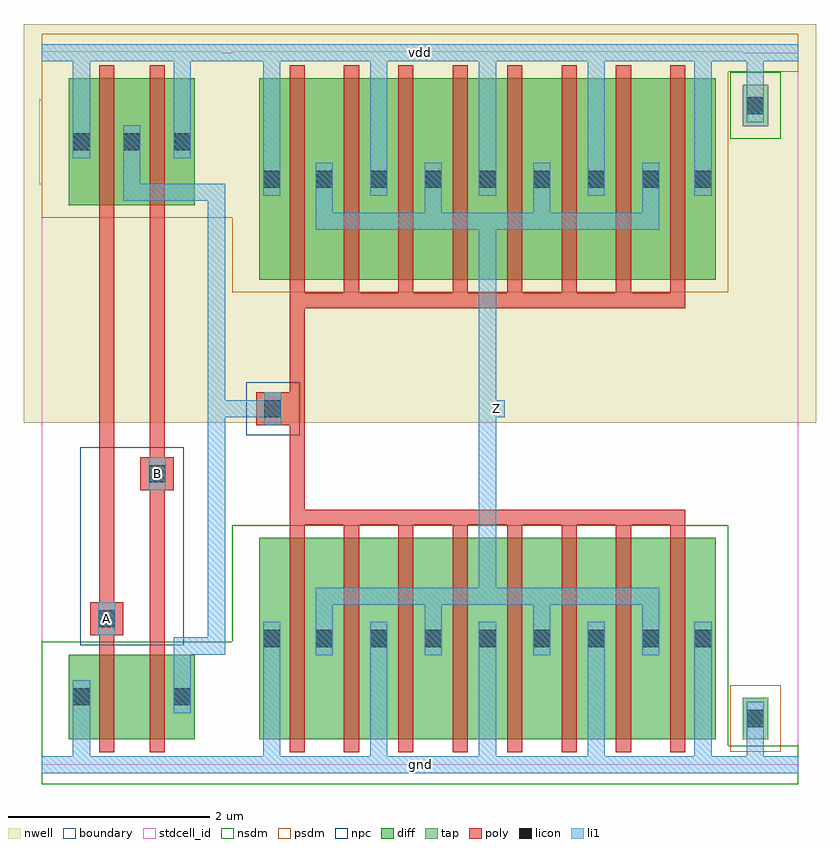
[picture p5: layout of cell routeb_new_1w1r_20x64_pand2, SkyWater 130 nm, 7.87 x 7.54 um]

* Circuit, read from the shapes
.subckt routeb_new_1w1r_20x64_pand2 A B Z gnd vdd
XM1 routeb_new_1w1r_20x64_pnand2_0/routeb_new_1w1r_20x64_nmos_m1_w0_840_sli_dactive_2/D A gnd gnd sky130_fd_pr__nfet_01v8 w=0.84 l=0.15
XM2 routeb_new_1w1r_20x64_pdriver_1/A B routeb_new_1w1r_20x64_pnand2_0/routeb_new_1w1r_20x64_nmos_m1_w0_840_sli_dactive_2/D gnd sky130_fd_pr__nfet_01v8 w=0.84 l=0.15
XM3 Z routeb_new_1w1r_20x64_pdriver_1/A gnd gnd sky130_fd_pr__nfet_01v8 w=2 l=0.15 m=8
XM4 routeb_new_1w1r_20x64_pdriver_1/A A vdd vdd sky130_fd_pr__pfet_01v8 w=1.26 l=0.15
XM5 vdd B routeb_new_1w1r_20x64_pdriver_1/A vdd sky130_fd_pr__pfet_01v8 w=1.26 l=0.15
XM6 Z routeb_new_1w1r_20x64_pdriver_1/A vdd vdd sky130_fd_pr__pfet_01v8 w=2 l=0.15 m=8
.ends

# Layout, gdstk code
import gdstk
lib = gdstk.Library(unit=1e-6, precision=1e-09)
def R(c, l, rs):  # rectangles x0, y0, x1, y1
    for r in rs: c.add(gdstk.rectangle(r[:2], r[2:], *l))
def A(c, l, x, y, w, h, nx, ny, dx, dy):  # array of equal rectangles
    R(c, l, [(x+i*dx, y+j*dy, x+i*dx+w, y+j*dy+h) for i in range(nx) for j in range(ny)])
nwell = (64, 20)
diff = (65, 20)
tap = (65, 44)
poly = (66, 20)
licon = (66, 44)
li1 = (67, 20)
stdcell_id = (81, 4)
nsdm = (93, 44)
psdm = (94, 20)
npc = (95, 20)
boundary = (235, 4)

routeb_new_1w1r_20x64_co = lib.new_cell('routeb_new_1w1r_20x64_contact_11')
R(routeb_new_1w1r_20x64_co, nwell, [(-0.295,-0.255,0.545,0.585)])
R(routeb_new_1w1r_20x64_co, diff, [(0,0.02,0.25,0.31)])
R(routeb_new_1w1r_20x64_co, licon, [(0.04,0.08,0.21,0.25)])
R(routeb_new_1w1r_20x64_co, li1, [(0.04,0,0.21,0.33)])
R(routeb_new_1w1r_20x64_co, stdcell_id, [(-0.295,-0.255,0.545,0.585)])
R(routeb_new_1w1r_20x64_co, psdm, [(-0.125,-0.105,0.375,0.435)])
R(routeb_new_1w1r_20x64_co, boundary, [(-0.295,-0.255,0.545,0.585)])

routeb_new_1w1r_20x64_pm = lib.new_cell('routeb_new_1w1r_20x64_pmos_m1_w1_260_sli_dli')
R(routeb_new_1w1r_20x64_pm, nwell, [(-0.27,-0.27,1.02,1.53)])
R(routeb_new_1w1r_20x64_pm, diff, [(0,0,0.75,1.26)])
R(routeb_new_1w1r_20x64_pm, poly, [(0.3,-0.13,0.45,1.39), (0.3,-0.13,0.45,1.39)])
R(routeb_new_1w1r_20x64_pm, li1, [(0.04,0.465,0.21,0.795), (0.54,0.465,0.71,0.795)])
R(routeb_new_1w1r_20x64_pm, stdcell_id, [(-0.27,-0.27,1.02,1.53)])
R(routeb_new_1w1r_20x64_pm, psdm, [(-0.125,-0.125,0.875,1.385)])
R(routeb_new_1w1r_20x64_pm, boundary, [(-0.27,-0.27,1.02,1.53)])
routeb_new_1w1r_20x64_pm.add(gdstk.Reference(routeb_new_1w1r_20x64_co, (0,0.465)))
routeb_new_1w1r_20x64_pm.add(gdstk.Reference(routeb_new_1w1r_20x64_co, (0.5,0.465)))
routeb_new_1w1r_20x64_pm.add(gdstk.Label('G', (0.375,0.63), layer=66, texttype=5))
routeb_new_1w1r_20x64_pm.add(gdstk.Label('S', (0.125,0.63), layer=67, texttype=5))
routeb_new_1w1r_20x64_pm.add(gdstk.Label('D', (0.625,0.63), layer=67, texttype=5))

c_routeb_new_1w1r_20x64_co = lib.new_cell('routeb_new_1w1r_20x64_contact_10')
R(c_routeb_new_1w1r_20x64_co, diff, [(0,0.02,0.25,0.31)])
R(c_routeb_new_1w1r_20x64_co, licon, [(0.04,0.08,0.21,0.25)])
R(c_routeb_new_1w1r_20x64_co, li1, [(0.04,0,0.21,0.33)])
R(c_routeb_new_1w1r_20x64_co, stdcell_id, [(-0.125,-0.105,0.375,0.435)])
R(c_routeb_new_1w1r_20x64_co, nsdm, [(-0.125,-0.105,0.375,0.435)])
R(c_routeb_new_1w1r_20x64_co, boundary, [(-0.125,-0.105,0.375,0.435)])

routeb_new_1w1r_20x64_nm = lib.new_cell('routeb_new_1w1r_20x64_nmos_m1_w0_840_sli_dactive')
R(routeb_new_1w1r_20x64_nm, diff, [(0,0,0.75,0.84), (0.55,0.345,0.7,0.495)])
R(routeb_new_1w1r_20x64_nm, poly, [(0.3,-0.13,0.45,0.97), (0.3,-0.13,0.45,0.97)])
R(routeb_new_1w1r_20x64_nm, li1, [(0.04,0.255,0.21,0.585)])
R(routeb_new_1w1r_20x64_nm, stdcell_id, [(-0.125,-0.13,0.875,0.97)])
R(routeb_new_1w1r_20x64_nm, nsdm, [(-0.125,-0.125,0.875,0.965)])
R(routeb_new_1w1r_20x64_nm, boundary, [(-0.125,-0.13,0.875,0.97)])
routeb_new_1w1r_20x64_nm.add(gdstk.Reference(c_routeb_new_1w1r_20x64_co, (0,0.255)))
routeb_new_1w1r_20x64_nm.add(gdstk.Label('G', (0.375,0.42), layer=66, texttype=5))
routeb_new_1w1r_20x64_nm.add(gdstk.Label('S', (0.125,0.42), layer=67, texttype=5))
routeb_new_1w1r_20x64_nm.add(gdstk.Label('D', (0.625,0.42), layer=65, texttype=5))

c_routeb_new_1w1r_20x64_nm = lib.new_cell('routeb_new_1w1r_20x64_nmos_m1_w0_840_sactive_dli')
R(c_routeb_new_1w1r_20x64_nm, diff, [(0,0,0.75,0.84), (0.05,0.345,0.2,0.495)])
R(c_routeb_new_1w1r_20x64_nm, poly, [(0.3,-0.13,0.45,0.97), (0.3,-0.13,0.45,0.97)])
R(c_routeb_new_1w1r_20x64_nm, li1, [(0.54,0.255,0.71,0.585)])
R(c_routeb_new_1w1r_20x64_nm, stdcell_id, [(-0.125,-0.13,0.875,0.97)])
R(c_routeb_new_1w1r_20x64_nm, nsdm, [(-0.125,-0.125,0.875,0.965)])
R(c_routeb_new_1w1r_20x64_nm, boundary, [(-0.125,-0.13,0.875,0.97)])
c_routeb_new_1w1r_20x64_nm.add(gdstk.Reference(c_routeb_new_1w1r_20x64_co, (0.5,0.255)))
c_routeb_new_1w1r_20x64_nm.add(gdstk.Label('G', (0.375,0.42), layer=66, texttype=5))
c_routeb_new_1w1r_20x64_nm.add(gdstk.Label('S', (0.125,0.42), layer=65, texttype=5))
c_routeb_new_1w1r_20x64_nm.add(gdstk.Label('D', (0.625,0.42), layer=67, texttype=5))

c_routeb_new_1w1r_20x64_co_ = lib.new_cell('routeb_new_1w1r_20x64_contact_15')
R(c_routeb_new_1w1r_20x64_co_, poly, [(0,0,0.33,0.33)])
R(c_routeb_new_1w1r_20x64_co_, licon, [(0.08,0.08,0.25,0.25)])
R(c_routeb_new_1w1r_20x64_co_, li1, [(0.08,0,0.25,0.33)])
R(c_routeb_new_1w1r_20x64_co_, stdcell_id, [(-0.1,-0.1,0.43,0.43)])
R(c_routeb_new_1w1r_20x64_co_, npc, [(-0.1,-0.1,0.43,0.43)])
R(c_routeb_new_1w1r_20x64_co_, boundary, [(-0.1,-0.1,0.43,0.43)])

routeb_new_1w1r_20x64_pn = lib.new_cell('routeb_new_1w1r_20x64_pnand2')
R(routeb_new_1w1r_20x64_pn, nwell, [(-0.18,3.395,2.07,7.355)])
R(routeb_new_1w1r_20x64_pn, poly, [(0.57,1.225,0.72,5.425), (1.07,1.225,1.22,5.425), (0.57,1.285,0.645,1.615), (1.07,2.725,1.145,3.055)])
R(routeb_new_1w1r_20x64_pn, li1, [(0,-0.085,1.89,0.085), (0.31,-0.085,0.48,0.51), (1.31,0.84,1.48,1.18), (1.31,1.095,1.48,1.265), (1.395,1.095,1.735,1.265), (1.65,1.095,1.82,1.265), (1.65,1.18,1.82,5.685), (0.56,1.285,0.73,1.615), (1.06,2.725,1.23,3.055), (0.81,5.6,0.98,5.77), (0.895,5.6,1.735,5.77), (1.65,5.6,1.82,5.77), (0.81,5.685,0.98,6.02), (0.31,6.02,0.48,7.155), (1.31,6.02,1.48,7.155), (0,6.985,1.89,7.155)])
R(routeb_new_1w1r_20x64_pn, stdcell_id, [(0,0,1.89,7.07), (0,0,1.89,7.07)])
R(routeb_new_1w1r_20x64_pn, nsdm, [(0,-0.19,1.89,0.19), (0,0,1.89,1.22)])
R(routeb_new_1w1r_20x64_pn, psdm, [(0,5.43,1.89,7.07), (0,6.88,1.89,7.26)])
R(routeb_new_1w1r_20x64_pn, npc, [(0.38,1.185,1.41,3.155)])
R(routeb_new_1w1r_20x64_pn, boundary, [(0,0,1.89,7.07), (0,0,1.89,7.07)])
routeb_new_1w1r_20x64_pn.add(gdstk.Reference(routeb_new_1w1r_20x64_pm, (0.27,5.555)))
routeb_new_1w1r_20x64_pn.add(gdstk.Reference(routeb_new_1w1r_20x64_pm, (0.77,5.555)))
routeb_new_1w1r_20x64_pn.add(gdstk.Reference(routeb_new_1w1r_20x64_nm, (0.27,0.255)))
routeb_new_1w1r_20x64_pn.add(gdstk.Reference(c_routeb_new_1w1r_20x64_nm, (0.77,0.255)))
routeb_new_1w1r_20x64_pn.add(gdstk.Reference(c_routeb_new_1w1r_20x64_co_, (0.48,1.285)))
routeb_new_1w1r_20x64_pn.add(gdstk.Reference(c_routeb_new_1w1r_20x64_co_, (0.98,2.725)))
routeb_new_1w1r_20x64_pn.add(gdstk.Label('Z', (1.735,5.685), layer=67, texttype=5))
routeb_new_1w1r_20x64_pn.add(gdstk.Label('gnd', (0.945,0), layer=67, texttype=5))
routeb_new_1w1r_20x64_pn.add(gdstk.Label('vdd', (0.945,7.07), layer=67, texttype=5))
routeb_new_1w1r_20x64_pn.add(gdstk.Label('A', (0.645,1.45), layer=67, texttype=5))
routeb_new_1w1r_20x64_pn.add(gdstk.Label('B', (1.145,2.89), layer=67, texttype=5))

c_routeb_new_1w1r_20x64_pm = lib.new_cell('routeb_new_1w1r_20x64_pmos_m8_w2_000_sli_dli_da_p')
R(c_routeb_new_1w1r_20x64_pm, nwell, [(-0.27,-0.27,4.8,2.27)])
R(c_routeb_new_1w1r_20x64_pm, diff, [(0,0,4.53,2)])
A(c_routeb_new_1w1r_20x64_pm, poly, 0.3, -0.13, 0.15, 2.26, 8, 1, 0.54, 0)
R(c_routeb_new_1w1r_20x64_pm, poly, [(0.3,-0.28,4.23,-0.13)])
A(c_routeb_new_1w1r_20x64_pm, li1, 0.56, 0.58, 0.17, 0.42, 4, 1, 1.08, 0)
A(c_routeb_new_1w1r_20x64_pm, li1, 1.1, 0.835, 0.17, 0.33, 3, 1, 1.08, 0)
R(c_routeb_new_1w1r_20x64_pm, li1, [(0.56,0.495,3.97,0.665), (0.04,0.835,0.21,1.165), (4.32,0.835,4.49,1.165)])
R(c_routeb_new_1w1r_20x64_pm, stdcell_id, [(-0.27,-0.28,4.8,2.27)])
R(c_routeb_new_1w1r_20x64_pm, psdm, [(-0.125,-0.125,4.655,2.125)])
R(c_routeb_new_1w1r_20x64_pm, boundary, [(-0.27,-0.28,4.8,2.27)])
c_routeb_new_1w1r_20x64_pm.add(gdstk.Reference(routeb_new_1w1r_20x64_co, (0,0.835)))
c_routeb_new_1w1r_20x64_pm.add(gdstk.Reference(routeb_new_1w1r_20x64_co, (0.52,0.835)))
c_routeb_new_1w1r_20x64_pm.add(gdstk.Reference(routeb_new_1w1r_20x64_co, (1.06,0.835)))
c_routeb_new_1w1r_20x64_pm.add(gdstk.Reference(routeb_new_1w1r_20x64_co, (1.6,0.835)))
c_routeb_new_1w1r_20x64_pm.add(gdstk.Reference(routeb_new_1w1r_20x64_co, (2.14,0.835)))
c_routeb_new_1w1r_20x64_pm.add(gdstk.Reference(routeb_new_1w1r_20x64_co, (2.68,0.835)))
c_routeb_new_1w1r_20x64_pm.add(gdstk.Reference(routeb_new_1w1r_20x64_co, (3.22,0.835)))
c_routeb_new_1w1r_20x64_pm.add(gdstk.Reference(routeb_new_1w1r_20x64_co, (3.76,0.835)))
c_routeb_new_1w1r_20x64_pm.add(gdstk.Reference(routeb_new_1w1r_20x64_co, (4.28,0.835)))
c_routeb_new_1w1r_20x64_pm.add(gdstk.Label('G', (2.265,-0.205), layer=66, texttype=5))
c_routeb_new_1w1r_20x64_pm.add(gdstk.Label('S', (2.265,1), layer=67, texttype=5))
c_routeb_new_1w1r_20x64_pm.add(gdstk.Label('S', (3.345,1), layer=67, texttype=5))
c_routeb_new_1w1r_20x64_pm.add(gdstk.Label('S', (1.185,1), layer=67, texttype=5))
c_routeb_new_1w1r_20x64_pm.add(gdstk.Label('S', (0.125,1), layer=67, texttype=5))
c_routeb_new_1w1r_20x64_pm.add(gdstk.Label('S', (4.405,1), layer=67, texttype=5))
c_routeb_new_1w1r_20x64_pm.add(gdstk.Label('D', (2.265,0.58), layer=67, texttype=5))

c_routeb_new_1w1r_20x64_nm_ = lib.new_cell('routeb_new_1w1r_20x64_nmos_m8_w2_000_sli_dli_da_p')
R(c_routeb_new_1w1r_20x64_nm_, diff, [(0,0,4.53,2)])
A(c_routeb_new_1w1r_20x64_nm_, poly, 0.3, -0.13, 0.15, 2.26, 8, 1, 0.54, 0)
R(c_routeb_new_1w1r_20x64_nm_, poly, [(0.3,2.13,4.23,2.28)])
A(c_routeb_new_1w1r_20x64_nm_, li1, 1.1, 0.835, 0.17, 0.33, 3, 1, 1.08, 0)
A(c_routeb_new_1w1r_20x64_nm_, li1, 0.56, 1, 0.17, 0.42, 4, 1, 1.08, 0)
R(c_routeb_new_1w1r_20x64_nm_, li1, [(0.04,0.835,0.21,1.165), (4.32,0.835,4.49,1.165), (0.56,1.335,3.97,1.505)])
R(c_routeb_new_1w1r_20x64_nm_, stdcell_id, [(-0.125,-0.13,4.655,2.28)])
R(c_routeb_new_1w1r_20x64_nm_, nsdm, [(-0.125,-0.125,4.655,2.125)])
R(c_routeb_new_1w1r_20x64_nm_, boundary, [(-0.125,-0.13,4.655,2.28)])
c_routeb_new_1w1r_20x64_nm_.add(gdstk.Reference(c_routeb_new_1w1r_20x64_co, (0,0.835)))
c_routeb_new_1w1r_20x64_nm_.add(gdstk.Reference(c_routeb_new_1w1r_20x64_co, (0.52,0.835)))
c_routeb_new_1w1r_20x64_nm_.add(gdstk.Reference(c_routeb_new_1w1r_20x64_co, (1.06,0.835)))
c_routeb_new_1w1r_20x64_nm_.add(gdstk.Reference(c_routeb_new_1w1r_20x64_co, (1.6,0.835)))
c_routeb_new_1w1r_20x64_nm_.add(gdstk.Reference(c_routeb_new_1w1r_20x64_co, (2.14,0.835)))
c_routeb_new_1w1r_20x64_nm_.add(gdstk.Reference(c_routeb_new_1w1r_20x64_co, (2.68,0.835)))
c_routeb_new_1w1r_20x64_nm_.add(gdstk.Reference(c_routeb_new_1w1r_20x64_co, (3.22,0.835)))
c_routeb_new_1w1r_20x64_nm_.add(gdstk.Reference(c_routeb_new_1w1r_20x64_co, (3.76,0.835)))
c_routeb_new_1w1r_20x64_nm_.add(gdstk.Reference(c_routeb_new_1w1r_20x64_co, (4.28,0.835)))
c_routeb_new_1w1r_20x64_nm_.add(gdstk.Label('G', (2.265,2.205), layer=66, texttype=5))
c_routeb_new_1w1r_20x64_nm_.add(gdstk.Label('S', (2.265,1), layer=67, texttype=5))
c_routeb_new_1w1r_20x64_nm_.add(gdstk.Label('S', (3.345,1), layer=67, texttype=5))
c_routeb_new_1w1r_20x64_nm_.add(gdstk.Label('S', (1.185,1), layer=67, texttype=5))
c_routeb_new_1w1r_20x64_nm_.add(gdstk.Label('S', (0.125,1), layer=67, texttype=5))
c_routeb_new_1w1r_20x64_nm_.add(gdstk.Label('S', (4.405,1), layer=67, texttype=5))
c_routeb_new_1w1r_20x64_nm_.add(gdstk.Label('D', (2.265,1.42), layer=67, texttype=5))

c_routeb_new_1w1r_20x64_co__ = lib.new_cell('routeb_new_1w1r_20x64_contact_24')
R(c_routeb_new_1w1r_20x64_co__, nwell, [(-0.295,-0.215,0.545,0.625)])
R(c_routeb_new_1w1r_20x64_co__, tap, [(0,0,0.25,0.41)])
R(c_routeb_new_1w1r_20x64_co__, licon, [(0.04,0.12,0.21,0.29)])
R(c_routeb_new_1w1r_20x64_co__, li1, [(0.04,0.04,0.21,0.37)])
R(c_routeb_new_1w1r_20x64_co__, stdcell_id, [(-0.295,-0.215,0.545,0.625)])
R(c_routeb_new_1w1r_20x64_co__, nsdm, [(-0.125,-0.125,0.375,0.535)])
R(c_routeb_new_1w1r_20x64_co__, boundary, [(-0.295,-0.215,0.545,0.625)])

c_routeb_new_1w1r_20x64_co___ = lib.new_cell('routeb_new_1w1r_20x64_contact_25')
R(c_routeb_new_1w1r_20x64_co___, tap, [(0,0,0.25,0.41)])
R(c_routeb_new_1w1r_20x64_co___, licon, [(0.04,0.12,0.21,0.29)])
R(c_routeb_new_1w1r_20x64_co___, li1, [(0.04,0.04,0.21,0.37)])
R(c_routeb_new_1w1r_20x64_co___, stdcell_id, [(-0.125,-0.125,0.375,0.535)])
R(c_routeb_new_1w1r_20x64_co___, psdm, [(-0.125,-0.125,0.375,0.535)])
R(c_routeb_new_1w1r_20x64_co___, boundary, [(-0.125,-0.125,0.375,0.535)])

routeb_new_1w1r_20x64_pi = lib.new_cell('routeb_new_1w1r_20x64_pinv_1')
R(routeb_new_1w1r_20x64_pi, nwell, [(-0.18,3.395,5.8,7.355)])
R(routeb_new_1w1r_20x64_pi, poly, [(0.57,2.535,0.72,4.535), (0.405,3.37,0.57,3.7)])
A(routeb_new_1w1r_20x64_pi, li1, 1.37, -0.085, 0.17, 1.175, 3, 1, 1.08, 0)
A(routeb_new_1w1r_20x64_pi, li1, 1.37, 5.65, 0.17, 1.505, 3, 1, 1.08, 0)
R(routeb_new_1w1r_20x64_pi, li1, [(0,-0.085,5.62,0.085), (0.31,-0.085,0.48,1.09), (4.59,-0.085,4.76,1.09), (5.11,0,5.28,0.46), (2.45,1.59,2.62,5.48), (0.32,3.37,0.49,3.7), (2.535,3.45,2.705,3.62), (0.31,5.65,0.48,7.155), (4.59,5.65,4.76,7.155), (5.11,6.545,5.28,7.07), (0,6.985,5.62,7.155)])
R(routeb_new_1w1r_20x64_pi, stdcell_id, [(0,0,5.62,7.07), (0,0,5.62,7.07)])
R(routeb_new_1w1r_20x64_pi, nsdm, [(0,-0.19,5.62,0.19), (0,0,4.925,2.38)])
R(routeb_new_1w1r_20x64_pi, psdm, [(0,4.69,4.925,7.07), (0,6.88,5.62,7.26)])
R(routeb_new_1w1r_20x64_pi, boundary, [(0,0,5.62,7.07), (0,0,5.62,7.07)])
routeb_new_1w1r_20x64_pi.add(gdstk.Reference(c_routeb_new_1w1r_20x64_pm, (0.27,4.815)))
routeb_new_1w1r_20x64_pi.add(gdstk.Reference(c_routeb_new_1w1r_20x64_nm_, (0.27,0.255)))
routeb_new_1w1r_20x64_pi.add(gdstk.Reference(c_routeb_new_1w1r_20x64_co__, (5.07,6.34)))
routeb_new_1w1r_20x64_pi.add(gdstk.Reference(c_routeb_new_1w1r_20x64_co___, (5.07,0.255)))
routeb_new_1w1r_20x64_pi.add(gdstk.Reference(c_routeb_new_1w1r_20x64_co_, (0.24,3.37)))
routeb_new_1w1r_20x64_pi.add(gdstk.Label('A', (0.405,3.535), layer=67, texttype=5))
routeb_new_1w1r_20x64_pi.add(gdstk.Label('Z', (2.62,3.535), layer=67, texttype=5))
routeb_new_1w1r_20x64_pi.add(gdstk.Label('gnd', (2.81,0), layer=67, texttype=5))
routeb_new_1w1r_20x64_pi.add(gdstk.Label('vdd', (2.81,7.07), layer=67, texttype=5))

routeb_new_1w1r_20x64_pd = lib.new_cell('routeb_new_1w1r_20x64_pdriver')
R(routeb_new_1w1r_20x64_pd, nwell, [(-0.18,3.395,5.8,7.355)])
R(routeb_new_1w1r_20x64_pd, li1, [(0,-0.085,5.62,0.085), (0.32,3.37,0.49,3.7), (2.535,3.45,2.705,3.62), (0,6.985,5.62,7.155)])
R(routeb_new_1w1r_20x64_pd, stdcell_id, [(0,0,5.62,7.07), (0,0,5.62,7.07)])
R(routeb_new_1w1r_20x64_pd, nsdm, [(0,-0.19,5.62,0.19)])
R(routeb_new_1w1r_20x64_pd, psdm, [(0,6.88,5.62,7.26)])
R(routeb_new_1w1r_20x64_pd, boundary, [(0,0,5.62,7.07), (0,0,5.62,7.07)])
routeb_new_1w1r_20x64_pd.add(gdstk.Reference(routeb_new_1w1r_20x64_pi, (0,0)))
routeb_new_1w1r_20x64_pd.add(gdstk.Label('Z', (2.62,3.535), layer=67, texttype=5))
routeb_new_1w1r_20x64_pd.add(gdstk.Label('A', (0.405,3.535), layer=67, texttype=5))
routeb_new_1w1r_20x64_pd.add(gdstk.Label('gnd', (2.81,0), layer=67, texttype=5))
routeb_new_1w1r_20x64_pd.add(gdstk.Label('vdd', (2.81,7.07), layer=67, texttype=5))

routeb_new_1w1r_20x64_pa = lib.new_cell('routeb_new_1w1r_20x64_pand2')
R(routeb_new_1w1r_20x64_pa, li1, [(0,-0.085,7.51,0.085), (0.56,1.285,0.73,1.615), (1.06,2.725,1.23,3.055), (1.65,3.45,1.82,3.62), (1.735,3.45,2.295,3.62), (4.425,3.45,4.595,3.62), (1.65,3.535,1.82,5.685), (0,6.985,7.51,7.155)])
R(routeb_new_1w1r_20x64_pa, stdcell_id, [(0,0,7.51,7.07), (0,0,7.51,7.07)])
R(routeb_new_1w1r_20x64_pa, boundary, [(0,0,7.51,7.07), (0,0,7.51,7.07)])
routeb_new_1w1r_20x64_pa.add(gdstk.Reference(routeb_new_1w1r_20x64_pn, (0,0)))
routeb_new_1w1r_20x64_pa.add(gdstk.Reference(routeb_new_1w1r_20x64_pd, (1.89,0)))
routeb_new_1w1r_20x64_pa.add(gdstk.Label('Z', (4.51,3.535), layer=67, texttype=5))
routeb_new_1w1r_20x64_pa.add(gdstk.Label('A', (0.645,1.45), layer=67, texttype=5))
routeb_new_1w1r_20x64_pa.add(gdstk.Label('B', (1.145,2.89), layer=67, texttype=5))
routeb_new_1w1r_20x64_pa.add(gdstk.Label('gnd', (3.755,0), layer=67, texttype=5))
routeb_new_1w1r_20x64_pa.add(gdstk.Label('vdd', (3.755,7.07), layer=67, texttype=5))

lib.write_gds('routeb_new_1w1r_20x64_pand2.gds')
